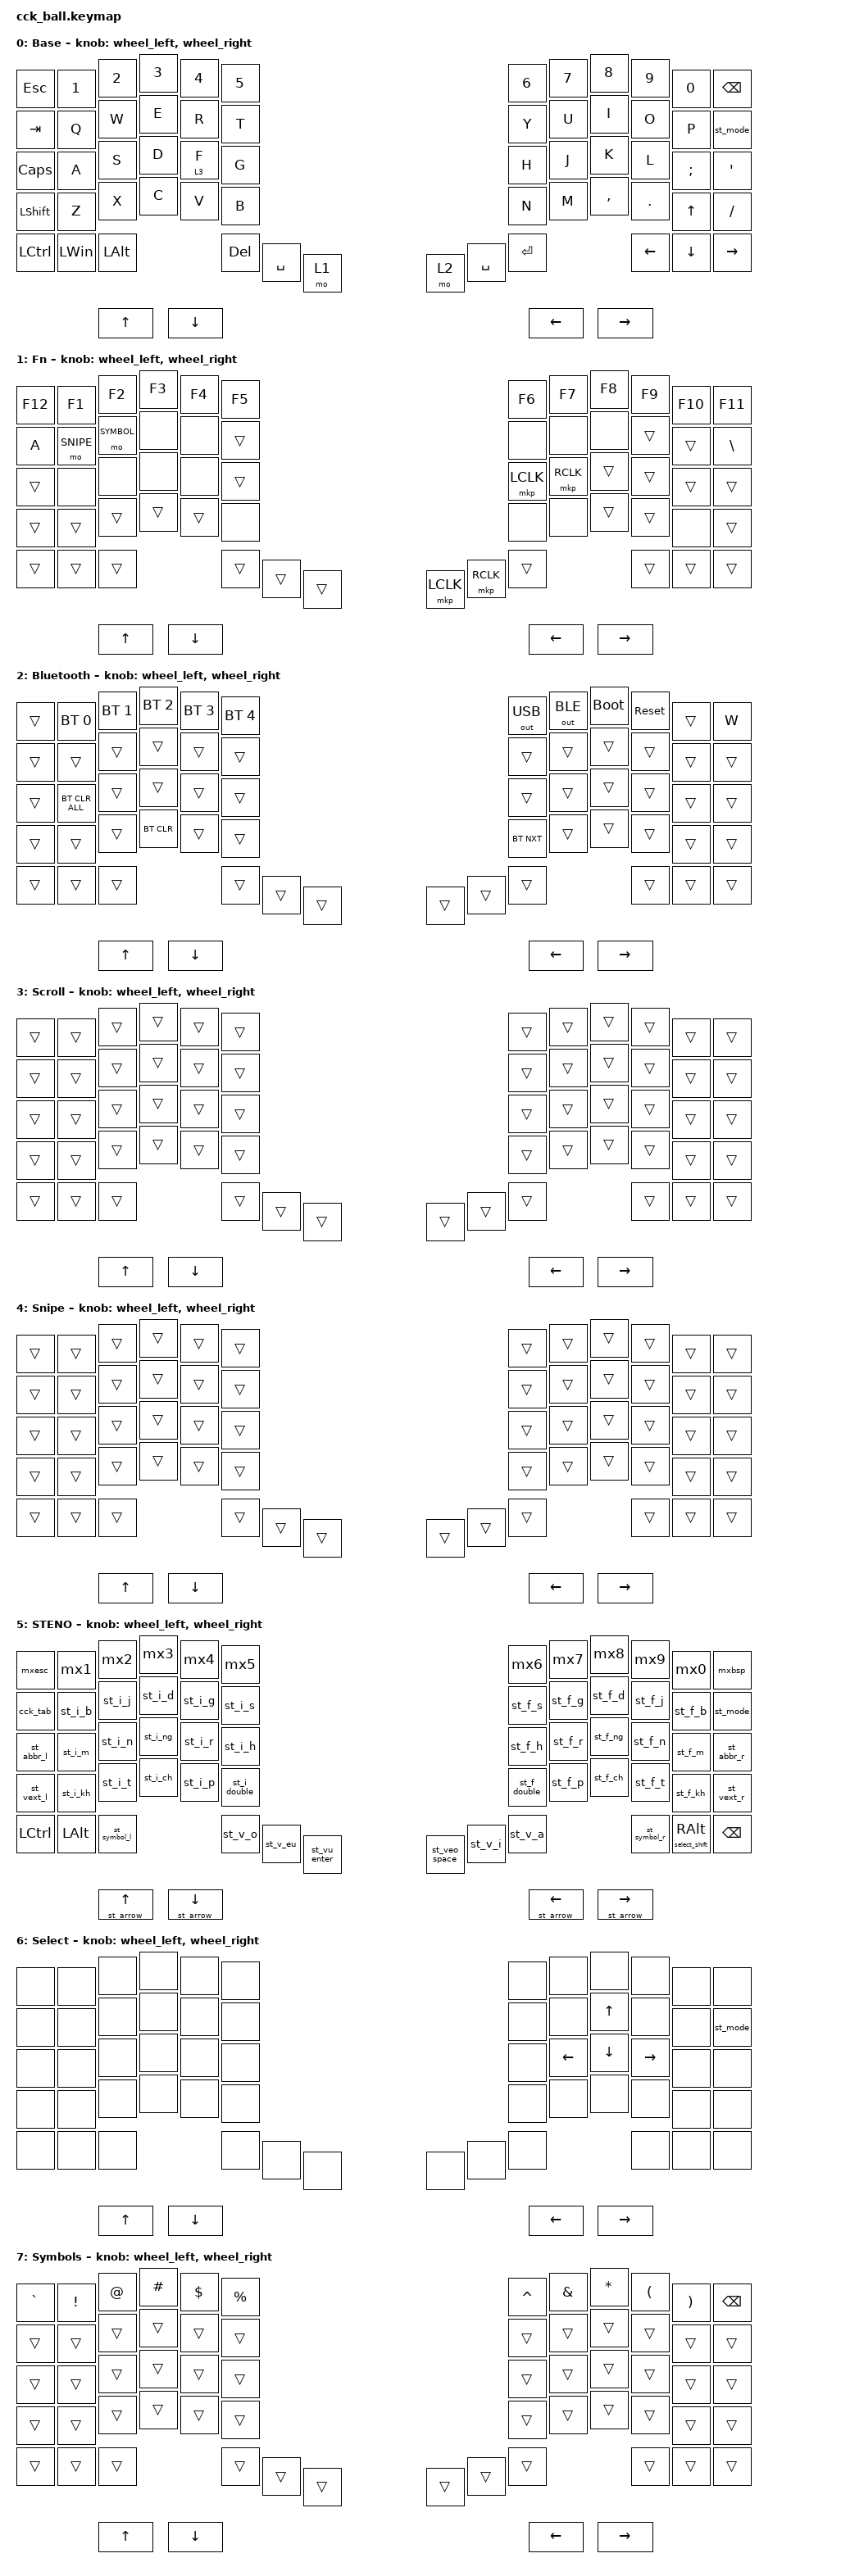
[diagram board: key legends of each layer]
/* CCK BALL 4x6 MODU STENO v1.1.1. RIGHT is central. */
#define ZMK_POINTING_DEFAULT_MOVE_VAL 1000
#define ZMK_POINTING_DEFAULT_SCRL_VAL 12
#include <input/processors.dtsi>
#include <zephyr/dt-bindings/input/input-event-codes.h>
#include <behaviors.dtsi>
#include <dt-bindings/zmk/bt.h>
#include <dt-bindings/zmk/keys.h>
#include <dt-bindings/zmk/modifiers.h>
#include <dt-bindings/zmk/pointing.h>
#include <dt-bindings/zmk/outputs.h>
#include <dt-bindings/zmk/cornix_steno.h>
#define BASE 0
#define FN 1
#define BT 2
#define SCROLL 3
#define SNIPE 4
#define STENO 5
#define SELECT_NAV 6
#define SYMBOL 7
#include "cck-steno.dtsi"
#include "cck-steno-aux.dtsi"

&mmv_input_listener { input-processors = <&zip_xy_scaler 2 1>; };
&msc_input_listener { input-processors = <&zip_scroll_scaler 2 1>; };

&msc {
    acceleration-exponent = <0>;
    time-to-max-speed-ms = <300>;
    delay-ms = <0>;
};

&mmv {
    time-to-max-speed-ms = <500>;
    acceleration-exponent = <1>;
    trigger-period-ms = <16>;
};

&soft_off { hold-time-ms = <2000>; };

/ {
    behaviors {
        /* STENO Tab location: short solo ~, 200ms hold Tab.
         * A Ctrl/Alt/LGUI already held bypasses the ~ branch and keeps mods.
         * Both branches use the original auxiliary FIFO/selector handling. */
        cck_tab_ht: cck_tab_hold_tap {
            compatible = "zmk,behavior-hold-tap";
            #binding-cells = <2>;
            bindings = <&cck_tab_hold>, <&cck_tab_tap>;
            flavor = "tap-preferred";
            tapping-term-ms = <200>;
            quick-tap-ms = <0>;
            require-prior-idle-ms = <0>;
            display-name = "CCK Tab hold / Tilde tap 200ms";
        };
        cck_tab: cck_tab_mod_morph {
            compatible = "zmk,behavior-mod-morph";
            #binding-cells = <0>;
            bindings = <&cck_tab_ht 0 0>, <&cck_tab_hold>;
            mods = <(MOD_LCTL | MOD_RCTL | MOD_LALT | MOD_RALT | MOD_LGUI)>;
            keep-mods = <(MOD_LCTL | MOD_RCTL | MOD_LALT | MOD_RALT | MOD_LGUI)>;
            display-name = "CCK ~ tap / Tab hold and modifier Tab";
        };
        cck_wheel: cck_wheel {
            compatible = "zmk,behavior-cck-wheel";
            #binding-cells = <1>;
            display-name = "CCK Internal wheel routing - do not assign";
        };
        st_sel: steno_select_shift_tap {
            compatible = "zmk,behavior-hold-tap";
            #binding-cells = <2>;
            bindings = <&select_shift>, <&kp>;
            flavor = "hold-preferred";
            tapping-term-ms = <500>;
            quick-tap-ms = <0>;
            require-prior-idle-ms = <0>;
            display-name = "ST Select Shift / RAlt tap 500ms";
        };
    };
    wheel_left: wheel_left {
        compatible = "zmk,behavior-sensor-rotate";
        #sensor-binding-cells = <0>;
        bindings = <&cck_wheel 60>, <&cck_wheel 61>;
        tap-ms = <10>;
    };
    wheel_right: wheel_right {
        compatible = "zmk,behavior-sensor-rotate";
        #sensor-binding-cells = <0>;
        bindings = <&cck_wheel 62>, <&cck_wheel 63>;
        tap-ms = <10>;
    };
    macros {
        select_shift: select_shift {
            compatible = "zmk,behavior-macro";
            #binding-cells = <0>;
            wait-ms = <0>; tap-ms = <0>;
            bindings = <&macro_press &mo SELECT_NAV &kp RSHIFT>,
                       <&macro_pause_for_release>,
                       <&macro_release &mo SELECT_NAV &kp RSHIFT>;
        };
/* BEGIN CORNIX QUICK MACROS (generated from config/steno_quick_text.tsv) */
        /*
         * Standard ZMK macros visible in the Keymap Editor Macros panel.
         * Fixed STENO input masks are dispatched to stable M0..M11 nodes.
         * Edit the bindings in the GUI, or edit steno_quick_text.tsv and rerun
         * tools/update_quick_macro_text.py.
         */
        /* M0: 약어L+ㅡ -> 사구구 */
        quick_0: quick_0 {
            compatible = "zmk,behavior-macro";
            #binding-cells = <0>;
            display-name = "M0 Quick L+EU";
            wait-ms = <40>;
            tap-ms = <40>;
            bindings = <&kp T &kp K &kp R &kp N &kp R &kp N>;
        };

        /* M1: 약어L+ㅗ -> 구서룡 */
        quick_1: quick_1 {
            compatible = "zmk,behavior-macro";
            #binding-cells = <0>;
            display-name = "M1 Quick L+O";
            wait-ms = <40>;
            tap-ms = <40>;
            bindings = <&kp R &kp N &kp T &kp J &kp F &kp Y &kp D>;
        };

        /* M2: 약어L+ㅜ -> 피피쿵 */
        quick_2: quick_2 {
            compatible = "zmk,behavior-macro";
            #binding-cells = <0>;
            display-name = "M2 Quick L+U";
            wait-ms = <40>;
            tap-ms = <40>;
            bindings = <&kp V &kp L &kp V &kp L &kp Z &kp N &kp D>;
        };

        /* M3: 약어R+ㅏ -> 스타라이트 */
        quick_3: quick_3 {
            compatible = "zmk,behavior-macro";
            #binding-cells = <0>;
            display-name = "M3 Quick R+A";
            wait-ms = <40>;
            tap-ms = <40>;
            bindings = <&kp T &kp M &kp X &kp K &kp F &kp K &kp D &kp L &kp X &kp M>;
        };

        /* M4: 약어R+ㅣ -> 유안나 */
        quick_4: quick_4 {
            compatible = "zmk,behavior-macro";
            #binding-cells = <0>;
            display-name = "M4 Quick R+I";
            wait-ms = <40>;
            tap-ms = <40>;
            bindings = <&kp D &kp B &kp D &kp K &kp S &kp S &kp K>;
        };

        /* M5: 약어R+ㅓ -> 유혜나 */
        quick_5: quick_5 {
            compatible = "zmk,behavior-macro";
            #binding-cells = <0>;
            display-name = "M5 Quick R+EO";
            wait-ms = <40>;
            tap-ms = <40>;
            bindings = <&kp D &kp B &kp G &kp LS(P) &kp S &kp K>;
        };

        /* M6: 약어L+ㅏ -> 실험체 */
        quick_6: quick_6 {
            compatible = "zmk,behavior-macro";
            #binding-cells = <0>;
            display-name = "M6 Quick L+A";
            wait-ms = <40>;
            tap-ms = <40>;
            bindings = <&kp T &kp L &kp F &kp G &kp J &kp A &kp C &kp P>;
        };

        /* M7: 약어L+ㅓ -> A 시 */
        quick_7: quick_7 {
            compatible = "zmk,behavior-macro";
            #binding-cells = <0>;
            display-name = "M7 Quick L+EO";
            wait-ms = <80>;
            tap-ms = <40>;
            bindings = <&kp RALT &kp LS(A) &kp SPACE &kp RALT &kp T &kp L>;
        };

        /* M8: 약어L+ㅣ -> W 시 */
        quick_8: quick_8 {
            compatible = "zmk,behavior-macro";
            #binding-cells = <0>;
            display-name = "M8 Quick L+I";
            wait-ms = <80>;
            tap-ms = <40>;
            bindings = <&kp RALT &kp LS(W) &kp SPACE &kp RALT &kp T &kp L>;
        };

        /* M9: 약어R+ㅗ -> 케이지 */
        quick_9: quick_9 {
            compatible = "zmk,behavior-macro";
            #binding-cells = <0>;
            display-name = "M9 Quick R+O";
            wait-ms = <40>;
            tap-ms = <40>;
            bindings = <&kp Z &kp P &kp D &kp L &kp W &kp L>;
        };

        /* M10: 약어R+ㅜ -> 일렉트리스 */
        quick_10: quick_10 {
            compatible = "zmk,behavior-macro";
            #binding-cells = <0>;
            display-name = "M10 Quick R+U";
            wait-ms = <40>;
            tap-ms = <40>;
            bindings = <&kp D &kp L &kp F &kp F &kp P &kp R &kp X &kp M &kp F &kp L &kp T &kp M>;
        };

        /* M11: 약어R+ㅡ -> 마이스터 */
        quick_11: quick_11 {
            compatible = "zmk,behavior-macro";
            #binding-cells = <0>;
            display-name = "M11 Quick R+EU";
            wait-ms = <40>;
            tap-ms = <40>;
            bindings = <&kp A &kp K &kp D &kp L &kp T &kp M &kp X &kp J>;
        };
        /* END CORNIX QUICK MACROS */
    };
    keymap {
        compatible = "zmk,keymap";
        layer_0 {
            display-name = "Base";
            bindings = <
                &kp ESC  &kp N1  &kp N2  &kp N3  &kp N4  &kp N5  &kp N6  &kp N7  &kp N8  &kp N9  &kp N0  &kp BACKSPACE // 00..11
                &kp TAB  &kp Q  &kp W  &kp E  &kp R  &kp T  &kp Y  &kp U  &kp I  &kp O  &kp P  &st_mode // 12..23
                &kp CAPSLOCK  &kp A  &kp S  &kp D  &lt 3 F  &kp G  &kp H  &kp J  &kp K  &kp L  &kp SEMI  &kp SQT // 24..35
                &kp LEFT_SHIFT  &kp Z  &kp X  &kp C  &kp V  &kp B  &kp N  &kp M  &kp COMMA  &kp DOT  &kp UP_ARROW  &kp FSLH // 36..47
                &kp LEFT_CONTROL  &kp LEFT_WIN  &kp LEFT_ALT  &kp DELETE  &kp SPACE  &mo 1  &mo 2  &kp SPACE  &kp ENTER  &kp LEFT_ARROW  &kp DOWN_ARROW  &kp RIGHT_ARROW // 48..59
                &kp UP  &kp DOWN  &kp LEFT  &kp RIGHT // 60..63: L CW / L CCW / R CW / R CCW
            >;
            sensor-bindings = <&wheel_left &wheel_right>;
        };
        layer_1 {
            display-name = "Fn";
            bindings = <
                &kp F12  &kp F1  &kp F2  &kp F3  &kp F4  &kp F5  &kp F6  &kp F7  &kp F8  &kp F9  &kp F10  &kp F11 // 00..11
                &kp A  &mo SNIPE  &mo SYMBOL  &none  &none  &trans  &none  &none  &none  &trans  &trans  &kp BSLH // 12..23
                &trans  &none  &none  &none  &none  &trans  &mkp LCLK  &mkp RCLK  &trans  &trans  &trans  &trans // 24..35
                &trans  &trans  &trans  &trans  &trans  &none  &none  &none  &trans  &trans  &none  &trans // 36..47
                &trans  &trans  &trans  &trans  &trans  &trans  &mkp LCLK  &mkp RCLK  &trans  &trans  &trans  &trans // 48..59
                &kp UP  &kp DOWN  &kp LEFT  &kp RIGHT // 60..63: L CW / L CCW / R CW / R CCW
            >;
            sensor-bindings = <&wheel_left &wheel_right>;
        };
        layer_2 {
            display-name = "Bluetooth";
            bindings = <
                &trans  &bt BT_SEL 0  &bt BT_SEL 1  &bt BT_SEL 2  &bt BT_SEL 3  &bt BT_SEL 4  &out OUT_USB  &out OUT_BLE  &bootloader  &sys_reset  &trans  &kp W // 00..11
                &trans  &trans  &trans  &trans  &trans  &trans  &trans  &trans  &trans  &trans  &trans  &trans // 12..23
                &trans  &bt BT_CLR_ALL  &trans  &trans  &trans  &trans  &trans  &trans  &trans  &trans  &trans  &trans // 24..35
                &trans  &trans  &trans  &bt BT_CLR  &trans  &trans  &bt BT_NXT  &trans  &trans  &trans  &trans  &trans // 36..47
                &trans  &trans  &trans  &trans  &trans  &trans  &trans  &trans  &trans  &trans  &trans  &trans // 48..59
                &kp UP  &kp DOWN  &kp LEFT  &kp RIGHT // 60..63: L CW / L CCW / R CW / R CCW
            >;
            sensor-bindings = <&wheel_left &wheel_right>;
        };
        layer_3 {
            display-name = "Scroll";
            bindings = <
                &trans  &trans  &trans  &trans  &trans  &trans  &trans  &trans  &trans  &trans  &trans  &trans // 00..11
                &trans  &trans  &trans  &trans  &trans  &trans  &trans  &trans  &trans  &trans  &trans  &trans // 12..23
                &trans  &trans  &trans  &trans  &trans  &trans  &trans  &trans  &trans  &trans  &trans  &trans // 24..35
                &trans  &trans  &trans  &trans  &trans  &trans  &trans  &trans  &trans  &trans  &trans  &trans // 36..47
                &trans  &trans  &trans  &trans  &trans  &trans  &trans  &trans  &trans  &trans  &trans  &trans // 48..59
                &kp UP  &kp DOWN  &kp LEFT  &kp RIGHT // 60..63: L CW / L CCW / R CW / R CCW
            >;
            sensor-bindings = <&wheel_left &wheel_right>;
        };
        layer_4 {
            display-name = "Snipe";
            bindings = <
                &trans  &trans  &trans  &trans  &trans  &trans  &trans  &trans  &trans  &trans  &trans  &trans // 00..11
                &trans  &trans  &trans  &trans  &trans  &trans  &trans  &trans  &trans  &trans  &trans  &trans // 12..23
                &trans  &trans  &trans  &trans  &trans  &trans  &trans  &trans  &trans  &trans  &trans  &trans // 24..35
                &trans  &trans  &trans  &trans  &trans  &trans  &trans  &trans  &trans  &trans  &trans  &trans // 36..47
                &trans  &trans  &trans  &trans  &trans  &trans  &trans  &trans  &trans  &trans  &trans  &trans // 48..59
                &kp UP  &kp DOWN  &kp LEFT  &kp RIGHT // 60..63: L CW / L CCW / R CW / R CCW
            >;
            sensor-bindings = <&wheel_left &wheel_right>;
        };
        layer_5 {
            display-name = "STENO";
            bindings = <
                &mxesc  &mx1  &mx2  &mx3  &mx4  &mx5  &mx6  &mx7  &mx8  &mx9  &mx0  &mxbsp // 00..11
                &cck_tab  &st_i_b  &st_i_j  &st_i_d  &st_i_g  &st_i_s  &st_f_s  &st_f_g  &st_f_d  &st_f_j  &st_f_b  &st_mode // 12..23
                &st_abbr_l  &st_i_m  &st_i_n  &st_i_ng  &st_i_r  &st_i_h  &st_f_h  &st_f_r  &st_f_ng  &st_f_n  &st_f_m  &st_abbr_r // 24..35
                &st_vext_l  &st_i_kh  &st_i_t  &st_i_ch  &st_i_p  &st_i_double  &st_f_double  &st_f_p  &st_f_ch  &st_f_t  &st_f_kh  &st_vext_r // 36..47
                &kp LCTRL  &kp LALT  &st_symbol_l  &st_v_o  &st_v_eu  &st_vu_enter  &st_veo_space  &st_v_i  &st_v_a  &st_symbol_r  &st_sel 0 RALT  &kp BSPC // 48..59
                &st_arrow UP  &st_arrow DOWN  &st_arrow LEFT  &st_arrow RIGHT // 60..63: L CW / L CCW / R CW / R CCW
            >;
            sensor-bindings = <&wheel_left &wheel_right>;
        };
        layer_6 {
            display-name = "Select";
            bindings = <
                &none  &none  &none  &none  &none  &none  &none  &none  &none  &none  &none  &none // 00..11
                &none  &none  &none  &none  &none  &none  &none  &none  &kp UP  &none  &none  &st_mode // 12..23
                &none  &none  &none  &none  &none  &none  &none  &kp LEFT  &kp DOWN  &kp RIGHT  &none  &none // 24..35
                &none  &none  &none  &none  &none  &none  &none  &none  &none  &none  &none  &none // 36..47
                &none  &none  &none  &none  &none  &none  &none  &none  &none  &none  &none  &none // 48..59
                &kp UP  &kp DOWN  &kp LEFT  &kp RIGHT // 60..63: L CW / L CCW / R CW / R CCW
            >;
            sensor-bindings = <&wheel_left &wheel_right>;
        };
        layer_7 {
            display-name = "Symbols";
            bindings = <
                &kp GRAVE  &kp EXCL  &kp AT  &kp HASH  &kp DLLR  &kp PRCNT  &kp CARET  &kp AMPS  &kp ASTERISK  &kp LPAR  &kp RPAR  &kp BSPC // 00..11
                &trans  &trans  &trans  &trans  &trans  &trans  &trans  &trans  &trans  &trans  &trans  &trans // 12..23
                &trans  &trans  &trans  &trans  &trans  &trans  &trans  &trans  &trans  &trans  &trans  &trans // 24..35
                &trans  &trans  &trans  &trans  &trans  &trans  &trans  &trans  &trans  &trans  &trans  &trans // 36..47
                &trans  &trans  &trans  &trans  &trans  &trans  &trans  &trans  &trans  &trans  &trans  &trans // 48..59
                &kp UP  &kp DOWN  &kp LEFT  &kp RIGHT // 60..63: L CW / L CCW / R CW / R CCW
            >;
            sensor-bindings = <&wheel_left &wheel_right>;
        };
    };
};
